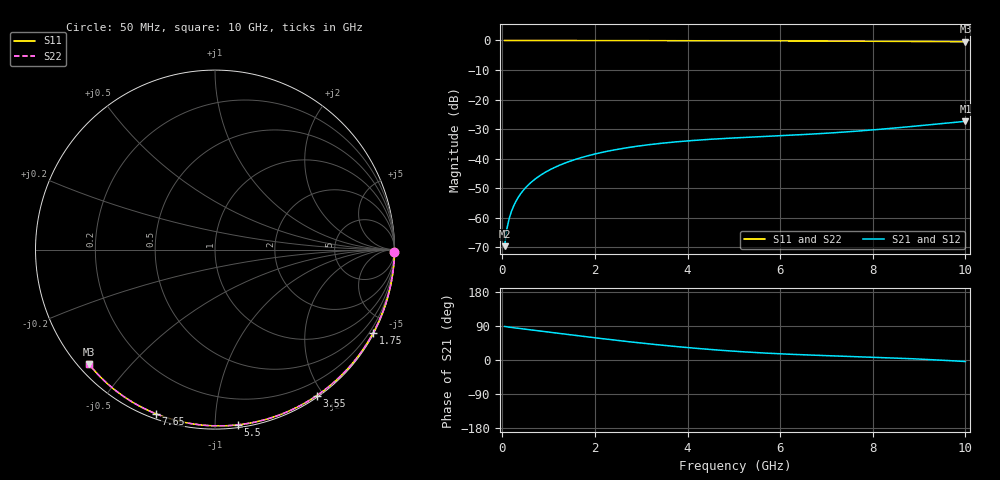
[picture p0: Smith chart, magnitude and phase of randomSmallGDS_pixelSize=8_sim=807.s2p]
! freq	dB(S11)	phase(S11)	dB(S12)	phase(S12)
!  dB(S21)	phase(S21)	dB(S22)	phase(S22)
!S-par simulation data
#  GHz  S  DB  R 50
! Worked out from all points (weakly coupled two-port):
!   200 points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, 50 MHz to 10 GHz, reference 50 ohm
!   highest |S21| = -27.34 dB at 10 GHz (marker M1); lowest = -69.6 dB at 50 MHz (marker M2)
!   lowest |S11| = -0.5 dB at 10 GHz (marker M3), VSWR 38.02, Z = 1.51 - j19.3 ohm
!   |S11| at or under -10 dB: nowhere
!   |S22| runs from -0.5 to 0.0 dB; largest |S21 - S12| = 0
!   S11 on the Smith chart (normalised r, x): 50 MHz: open; 1.75 GHz: 0.04, -4.02; 3.55 GHz: 0.02, -1.91; 5.5 GHz: 0.02, -1.14; 7.65 GHz: 0.02, -0.70; 10 GHz: 0.03, -0.39
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0.05  -0.00 -0.8  -69.55 88.6  -69.55 88.6  -0.00 -0.8
0.1  -0.00 -1.6  -63.60 87.4  -63.60 87.4  -0.00 -1.6
0.15  -0.00 -2.4  -60.14 86.6  -60.14 86.6  -0.00 -2.4
0.2  -0.00 -3.2  -57.69 85.9  -57.69 85.9  -0.00 -3.2
0.25  -0.00 -4.1  -55.78 85.1  -55.78 85.1  -0.00 -4.1
0.35  -0.00 -5.7  -52.90 83.7  -52.90 83.7  -0.00 -5.7
0.5  -0.01 -8.1  -49.84 81.5  -49.84 81.5  -0.01 -8.1
0.7  -0.01 -11.3  -46.96 78.4  -46.96 78.4  -0.01 -11.3
1  -0.02 -16.1  -43.95 73.8  -43.95 73.8  -0.02 -16.1
1.35  -0.03 -21.6  -41.47 68.4  -41.47 68.4  -0.03 -21.6
1.75  -0.04 -27.9  -39.41 62.3  -39.41 62.3  -0.04 -27.9
2.5  -0.05 -39.5  -36.78 51.5  -36.78 51.5  -0.05 -39.5
3.4  -0.07 -53.0  -34.83 39.7  -34.83 39.7  -0.07 -53.0
3.55  -0.07 -55.2  -34.58 37.9  -34.58 37.9  -0.07 -55.2
4.3  -0.09 -66.0  -33.62 29.6  -33.62 29.6  -0.09 -66.0
5.05  -0.12 -76.4  -32.92 22.8  -32.92 22.8  -0.12 -76.4
5.5  -0.13 -82.5  -32.58 19.5  -32.58 19.5  -0.13 -82.4
6.7  -0.19 -98.0  -31.64 12.8  -31.64 12.8  -0.19 -98.0
7.65  -0.25 -109.9  -30.67 9.0  -30.67 9.0  -0.25 -109.8
8.35  -0.30 -118.3  -29.78 5.9  -29.78 5.9  -0.30 -118.3
9.2  -0.37 -128.4  -28.55 1.3  -28.55 1.3  -0.37 -128.4
10  -0.46 -137.8  -27.34 -4.0  -27.34 -4.0  -0.46 -137.7
